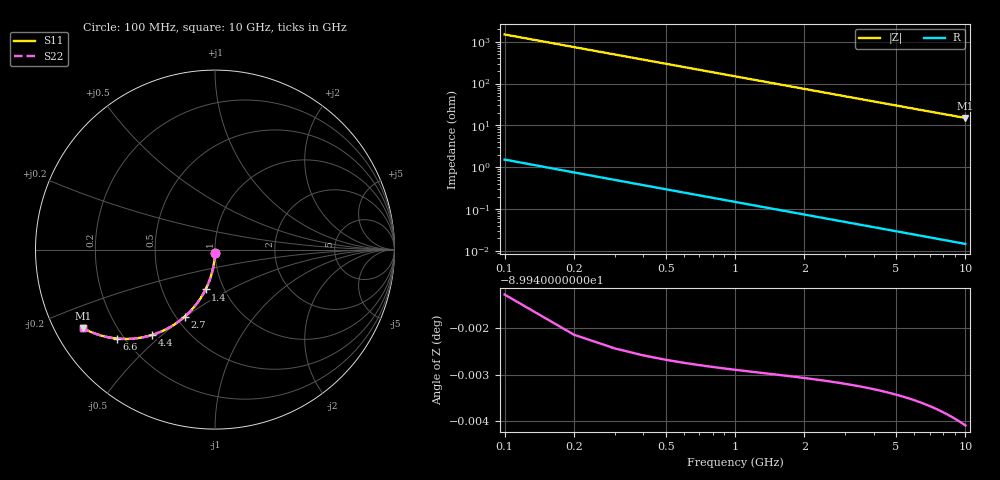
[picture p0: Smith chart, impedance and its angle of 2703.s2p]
# Hz S RI R 50.00
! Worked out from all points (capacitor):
!   100 points, 100 MHz to 10 GHz, reference 50 ohm
!   read as one part in shunt: C = 1.07 pF near 100 MHz
!   lowest |Z| = 15.1 ohm at 10 GHz (marker M1)
!   S11 on the Smith chart (normalised r, x): 100 MHz: 1.00, -0.03; 1.4 GHz: 0.82, -0.38; 2.7 GHz: 0.55, -0.50; 4.4 GHz: 0.32, -0.46; 6.6 GHz: 0.17, -0.38; 10 GHz: 0.08, -0.27
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1e8  -0.000284 -0.0167  0.9997 -0.0168  0.9997 -0.0168  -0.000284 -0.0167
2e8  -0.00114 -0.0334  0.9988 -0.0335  0.9988 -0.0335  -0.00114 -0.0334
3e8  -0.00255 -0.05  0.9974 -0.0502  0.9974 -0.0502  -0.00255 -0.05
4e8  -0.00452 -0.0666  0.9955 -0.0668  0.9955 -0.0668  -0.00452 -0.0666
5e8  -0.00703 -0.083  0.9929 -0.0833  0.9929 -0.0833  -0.00703 -0.083
6e8  -0.0101 -0.0993  0.9899 -0.0996  0.9899 -0.0996  -0.0101 -0.0993
7e8  -0.0137 -0.1154  0.9863 -0.1158  0.9863 -0.1158  -0.0137 -0.1154
9e8  -0.0223 -0.1471  0.9776 -0.1476  0.9776 -0.1476  -0.0223 -0.1471
1.1e9  -0.033 -0.1778  0.967 -0.1784  0.967 -0.1784  -0.033 -0.1778
1.4e9  -0.0523 -0.2217  0.9477 -0.2225  0.9477 -0.2225  -0.0523 -0.2217
1.8e9  -0.0834 -0.2756  0.9165 -0.2765  0.9165 -0.2765  -0.0834 -0.2756
2.2e9  -0.1196 -0.3234  0.8804 -0.3246  0.8804 -0.3246  -0.1196 -0.3234
2.7e9  -0.1696 -0.3741  0.8303 -0.3756  0.8303 -0.3756  -0.1696 -0.3741
3.4e9  -0.2444 -0.4283  0.7556 -0.4302  0.7556 -0.4302  -0.2444 -0.4283
4.4e9  -0.3509 -0.4755  0.6491 -0.478  0.6491 -0.478  -0.3509 -0.4755
5.1e9  -0.4204 -0.4917  0.5796 -0.4945  0.5796 -0.4945  -0.4204 -0.4917
5.8e9  -0.4837 -0.4976  0.5163 -0.5008  0.5163 -0.5008  -0.4837 -0.4976
6.6e9  -0.5477 -0.4954  0.4522 -0.4991  0.4522 -0.4991  -0.5477 -0.4954
6.7e9  -0.5551 -0.4946  0.4448 -0.4983  0.4448 -0.4983  -0.5551 -0.4946
7.5e9  -0.6096 -0.4852  0.3903 -0.4894  0.3903 -0.4894  -0.6096 -0.4852
8.4e9  -0.6617 -0.4703  0.3383 -0.475  0.3383 -0.475  -0.6617 -0.4703
1e10  -0.7344 -0.4383  0.2655 -0.4439  0.2655 -0.4439  -0.7344 -0.4383
